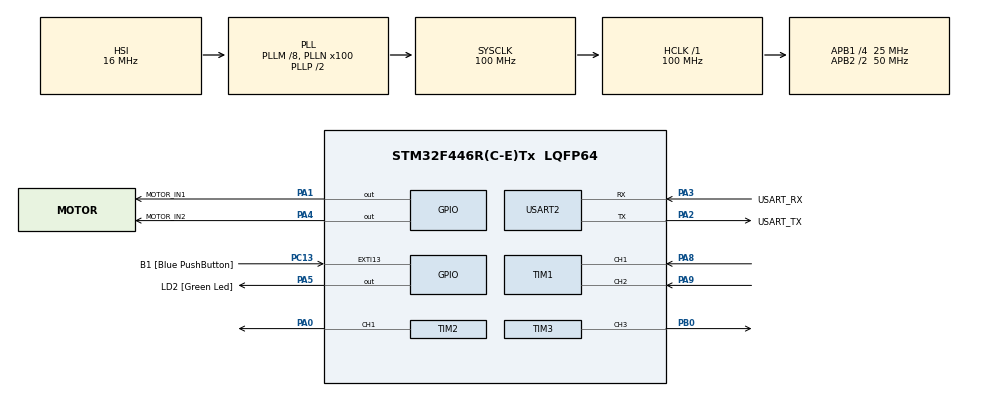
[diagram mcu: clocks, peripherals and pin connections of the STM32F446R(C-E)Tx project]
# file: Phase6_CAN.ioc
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FREERTOS.Tasks01=Task_Comm,24,128,StartDefaultTask,Default,NULL,Dynamic,NULL,NULL;Task_Motor,40,128,StartTask02,Default,NULL,Dynamic,NULL,NULL;Task_Safety,48,128,StartTask03,Default,NULL,Dynamic,NULL,NULL
FREERTOS.configUSE_NEWLIB_REENTRANT=1
Mcu.Family=STM32F4
Mcu.Name=STM32F446R(C-E)Tx
Mcu.Package=LQFP64
NVIC.EXTI15_10_IRQn=true\:5\:0\:false\:false\:true\:true\:true\:true\:true
NVIC.PriorityGroup=NVIC_PRIORITYGROUP_4
NVIC.TIM1_UP_TIM10_IRQn=true\:15\:0\:false\:false\:true\:false\:false\:true\:true
NVIC.TimeBase=TIM1_UP_TIM10_IRQn
NVIC.TimeBaseIP=TIM10
NVIC.USART2_IRQn=true\:5\:0\:false\:false\:true\:true\:true\:true\:true
PA0-WKUP.Signal=S_TIM2_CH1_ETR
PA1.GPIO_Label=MOTOR_IN1
PA1.Signal=GPIO_Output
PA13.GPIO_Label=TMS
PA13.Mode=Serial_Wire
PA13.Signal=SYS_JTMS-SWDIO
PA14.GPIO_Label=TCK
PA14.Mode=Serial_Wire
PA14.Signal=SYS_JTCK-SWCLK
PA2.GPIO_Label=USART_TX
PA2.Mode=Asynchronous
PA2.Signal=USART2_TX
PA3.GPIO_Label=USART_RX
PA3.Mode=Asynchronous
PA3.Signal=USART2_RX
PA4.GPIO_Label=MOTOR_IN2
PA4.Signal=GPIO_Output
PA5.GPIO_Label=LD2 [Green Led]
PA5.Signal=GPIO_Output
PA8.Signal=S_TIM1_CH1
PA9.Signal=S_TIM1_CH2
PB0.Signal=S_TIM3_CH3
PB3.GPIO_Label=SWO
PB3.Signal=SYS_JTDO-SWO
PC13.GPIO_Label=B1 [Blue PushButton]
PC13.GPIO_ModeDefaultEXTI=GPIO_MODE_IT_FALLING
PC13.Signal=GPXTI13
PC14-OSC32_IN.Signal=RCC_OSC32_IN
PC15-OSC32_OUT.Signal=RCC_OSC32_OUT
PH0-OSC_IN.Signal=RCC_OSC_IN
PH1-OSC_OUT.Signal=RCC_OSC_OUT
ProjectManager.HeapSize=0x200
ProjectManager.StackSize=0x400
ProjectManager.TargetToolchain=STM32CubeIDE
RCC.48MHZClocksFreq_Value=84000000
RCC.AHBFreq_Value=100000000
RCC.APB1CLKDivider=RCC_HCLK_DIV4
RCC.APB1Freq_Value=25000000
RCC.APB1TimFreq_Value=50000000
RCC.APB2CLKDivider=RCC_HCLK_DIV2
RCC.APB2Freq_Value=50000000
RCC.APB2TimFreq_Value=100000000
RCC.CortexFreq_Value=100000000
RCC.FLatency-AdvancedSettings=FLASH_LATENCY_3
RCC.HCLKFreq_Value=100000000
RCC.HSE_VALUE=8000000
RCC.HSI_VALUE=16000000
RCC.PLLM=8
RCC.PLLN=100
RCC.SYSCLKFreq_VALUE=100000000
RCC.SYSCLKSource=RCC_SYSCLKSOURCE_PLLCLK
RCC.USBFreq_Value=100000000
RCC.VCOOutputFreq_Value=200000000
SH.S_TIM1_CH1.0=TIM1_CH1,Encoder_Interface
SH.S_TIM1_CH2.0=TIM1_CH2,Encoder_Interface
SH.S_TIM2_CH1_ETR.0=TIM2_CH1,PWM Generation1 CH1
SH.S_TIM3_CH3.0=TIM3_CH3,PWM Generation3 CH3
TIM1.EncoderMode=TIM_ENCODERMODE_TI12
TIM2.Channel-PWM\ Generation1\ CH1=TIM_CHANNEL_1
TIM2.Period=19999
TIM2.Prescaler=49
TIM2.Pulse-PWM\ Generation1\ CH1=1500
TIM3.Channel-PWM\ Generation3\ CH3=TIM_CHANNEL_3
TIM3.Period=999
TIM3.Prescaler=499
USART2.VirtualMode=VM_ASYNC
VP_FREERTOS_VS_CMSIS_V2.Mode=CMSIS_V2
VP_SYS_VS_tim10.Mode=TIM10
VP_TIM2_VS_ClockSourceINT.Mode=Internal
VP_TIM3_VS_ClockSourceINT.Mode=Internal
board=NUCLEO-F446RE

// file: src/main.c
/* USER CODE BEGIN Header */
/**
  ******************************************************************************
  * @file           : main.c
  * @brief          : Main program body
  ******************************************************************************
  * @attention
  *
  * Copyright (c) 2026 STMicroelectronics.
  * All rights reserved.
  *
  * This software is licensed under terms that can be found in the LICENSE file
  * in the root directory of this software component.
  * If no LICENSE file comes with this software, it is provided AS-IS.
  *
  ******************************************************************************
  */
/* USER CODE END Header */
#include "main.h"
#include "cmsis_os.h"
#include "tim.h"
#include "usart.h"
#include "gpio.h"

/* USER CODE BEGIN Includes */
#include <string.h>
#include <stdio.h>
#include "cmsis_os.h"
/* USER CODE END Includes */

/* USER CODE BEGIN PV */

//태스크 간 공유 변수
volatile uint32_t last_command_time = 0;
volatile int16_t current_speed_rpm = 0;
volatile uint8_t ping_received = 0;

// UART 수신 1바이트 버퍼
uint8_t rx_data;

// 큐 핸들 (freertos.c에서 osMessageQueueNew()로 생성)
osMessageQueueId_t myQueueHandle;

// 엔코더 카운터
uint16_t last_encoder_count = 0;

/* USER CODE END PV */

void SystemClock_Config(void);
void MX_FREERTOS_Init(void);

int main(void)
{

  /* MCU Configuration--------------------------------------------------------*/

  /* Reset of all peripherals, Initializes the Flash interface and the Systick. */
  HAL_Init();

  /* Configure the system clock */
  SystemClock_Config();

  /* Initialize all configured peripherals */
  MX_GPIO_Init();
  MX_USART2_UART_Init();
  MX_TIM1_Init();
  MX_TIM2_Init();
  MX_TIM3_Init();
  /* USER CODE BEGIN 2 */
//pwm 타이머 시작
  HAL_TIM_PWM_Start(&htim2, TIM_CHANNEL_1); // Servo
  HAL_TIM_PWM_Start(&htim3, TIM_CHANNEL_3); // Dc Motor
  // 7/26 여긴 괜찮은데 freertos.c를 봐야한다. 거기에서 서보 관련 문제의 원인이 있다

  //엔코더 시작
  HAL_TIM_Encoder_Start(&htim1, TIM_CHANNEL_ALL);
  last_encoder_count = __HAL_TIM_GET_COUNTER(&htim1);

  //시작 시각 저장
  last_command_time = HAL_GetTick();

  // UART 수신 시작(1바이트, 인터럽트 모드)
  HAL_UART_Receive_IT(&huart2, &rx_data, 1);

  /* USER CODE END 2 */

  /* Init scheduler */
  osKernelInitialize();

  /* Call init function for freertos objects (in cmsis_os2.c) */
  MX_FREERTOS_Init();

  /* Start scheduler */
  osKernelStart();

  /* We should never get here as control is now taken by the scheduler */

  /* Infinite loop */
  while (1)
  {

    /* USER CODE BEGIN 3 */
//	  char msg[] = "Hello F446RE!\r\n";
//	  HAL_UART_Transmit(&huart2, (uint8_t *)msg, strlen(msg), 100);
//	  HAL_Delay(1000);
  }
  /* USER CODE END 3 */
}

void SystemClock_Config(void)
{
  RCC_OscInitTypeDef RCC_OscInitStruct = {0};
  RCC_ClkInitTypeDef RCC_ClkInitStruct = {0};

  /** Configure the main internal regulator output voltage
  */
  __HAL_RCC_PWR_CLK_ENABLE();
  __HAL_PWR_VOLTAGESCALING_CONFIG(PWR_REGULATOR_VOLTAGE_SCALE3);

  /** Initializes the RCC Oscillators according to the specified parameters
  * in the RCC_OscInitTypeDef structure.
  */
  RCC_OscInitStruct.OscillatorType = RCC_OSCILLATORTYPE_HSI;
  RCC_OscInitStruct.HSIState = RCC_HSI_ON;
  RCC_OscInitStruct.HSICalibrationValue = RCC_HSICALIBRATION_DEFAULT;
  RCC_OscInitStruct.PLL.PLLState = RCC_PLL_ON;
  RCC_OscInitStruct.PLL.PLLSource = RCC_PLLSOURCE_HSI;
  RCC_OscInitStruct.PLL.PLLM = 8;
  RCC_OscInitStruct.PLL.PLLN = 100;
  RCC_OscInitStruct.PLL.PLLP = RCC_PLLP_DIV2;
  RCC_OscInitStruct.PLL.PLLQ = 2;
  RCC_OscInitStruct.PLL.PLLR = 2;
  if (HAL_RCC_OscConfig(&RCC_OscInitStruct) != HAL_OK)
  {
    Error_Handler();
  }

  /** Initializes the CPU, AHB and APB buses clocks
  */
  RCC_ClkInitStruct.ClockType = RCC_CLOCKTYPE_HCLK|RCC_CLOCKTYPE_SYSCLK
                              |RCC_CLOCKTYPE_PCLK1|RCC_CLOCKTYPE_PCLK2;
  RCC_ClkInitStruct.SYSCLKSource = RCC_SYSCLKSOURCE_PLLCLK;
  RCC_ClkInitStruct.AHBCLKDivider = RCC_SYSCLK_DIV1;
  RCC_ClkInitStruct.APB1CLKDivider = RCC_HCLK_DIV4;
  RCC_ClkInitStruct.APB2CLKDivider = RCC_HCLK_DIV2;

  if (HAL_RCC_ClockConfig(&RCC_ClkInitStruct, FLASH_LATENCY_3) != HAL_OK)
  {
    Error_Handler();
  }
}

/* USER CODE BEGIN 4 */

//printf를 UART로 리다이렉트 (디버깅용)
#ifdef __GNUC__
#define PUTCHAR_PROTOTYPE int __io_putchar(int ch)
#else
#define PUTCHAR_PROTOTYPE int fputc(int ch, FILE *f)
#endif

PUTCHAR_PROTOTYPE
{
	HAL_UART_Transmit(&huart2, (uint8_t *)&ch, 1, 0xFFFF);
	return ch;
}

//PID 계산
float PID_Calculate(PID_t *pid, float error)
{
	float p = pid->kp * error;

	pid->integral += error * 0.01f; //dt=10ms (100Hz 루프 가정)
	float i = pid->ki * pid->integral;

	float d = pid->kd * (error - pid->prev_error) / 0.01f;
	pid->prev_error = error;

	float output = p + i + d;

	if(output > pid->output_max) output = pid->output_max;
	if(output < pid->output_min) output = pid->output_min;

	return output;
}

//UART 수신 콜백(1바이트씩)
void HAL_UART_RxCpltCallback(UART_HandleTypeDef *huart)
{
	if(huart->Instance != USART2) return;

	static uint8_t buffer[64];
	static uint8_t buf_index = 0;

	//문장 끝
	if(rx_data=='\n' || rx_data=='\r')
	{
		if(buf_index>0)
		{
			buffer[buf_index] = 0;

			//PING처리: 플래그만 세팅 (실제 PONG 송신은 Task_Comm에서)
			if(strcmp((char*)buffer, "PING") == 0)
			{
				ping_received = 1;
			}
			else
			{
				// "speed,angle" 파싱
				int temp_speed = 0;
				int temp_angle = SERVO_CENTER_US;

				if(sscanf((char*)buffer, "%d,%d", &temp_speed, &temp_angle) == 2)
				{
					MotorCommand_t send_msg;
					send_msg.speed = temp_speed;
					send_msg.angle = temp_angle;

					// 큐에 푸시 (대기시간 0 -> 꽉 차면 버림)
					osMessageQueuePut(myQueueHandle, &send_msg, 0, 0);

					last_command_time = HAL_GetTick();
				}
			}

			buf_index = 0;
			memset(buffer, 0, sizeof(buffer));
		}
	}
	else
	{
		if(buf_index < 60)
		{
			buffer[buf_index++] = rx_data;
		}
	}

	//다음 인터럽트 장전
	HAL_UART_Receive_IT(&huart2, &rx_data, 1);
}

//UART 에러 자동 복구
void HAL_UART_ErrorCallback(UART_HandleTypeDef *huart)
{
	if(huart->Instance == USART2)
	{
		HAL_UART_Receive_IT(&huart2, &rx_data, 1);
	}
}

/* USER CODE END 4 */

void HAL_TIM_PeriodElapsedCallback(TIM_HandleTypeDef *htim)
{
  if (htim->Instance == TIM10) {
    HAL_IncTick();
  }
}

void Error_Handler(void)
{
  __disable_irq();
  while (1)
  {
  }
}

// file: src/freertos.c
/* USER CODE BEGIN Header */
/**
  ******************************************************************************
  * File Name          : freertos.c
  * Description        : Code for freertos applications
  ******************************************************************************
  * @attention
  *
  * Copyright (c) 2026 STMicroelectronics.
  * All rights reserved.
  *
  * This software is licensed under terms that can be found in the LICENSE file
  * in the root directory of this software component.
  * If no LICENSE file comes with this software, it is provided AS-IS.
  *
  ******************************************************************************
  */
/* USER CODE END Header */

#include "FreeRTOS.h"
#include "task.h"
#include "main.h"
#include "cmsis_os.h"

/* USER CODE BEGIN Includes */
#include "main.h"
#include "tim.h"
#include "usart.h"
#include "gpio.h"
#include <stdio.h>
#include <string.h>
#include <stdlib.h>
/* USER CODE END Includes */

/* Definitions for Task_Comm */
osThreadId_t Task_CommHandle;
const osThreadAttr_t Task_Comm_attributes = {
  .name = "Task_Comm",
  .stack_size = 128 * 4,
  .priority = (osPriority_t) osPriorityNormal,
};
/* Definitions for Task_Motor */
osThreadId_t Task_MotorHandle;
const osThreadAttr_t Task_Motor_attributes = {
  .name = "Task_Motor",
  .stack_size = 128 * 4,
  .priority = (osPriority_t) osPriorityHigh,
};
/* Definitions for Task_Safety */
osThreadId_t Task_SafetyHandle;
const osThreadAttr_t Task_Safety_attributes = {
  .name = "Task_Safety",
  .stack_size = 128 * 4,
  .priority = (osPriority_t) osPriorityRealtime,
};

void StartDefaultTask(void *argument);
void StartTask02(void *argument);
void StartTask03(void *argument);

void MX_FREERTOS_Init(void); /* (MISRA C 2004 rule 8.1) */

void MX_FREERTOS_Init(void) {
  /* USER CODE BEGIN Init */
//큐 생성
	myQueueHandle = osMessageQueueNew(16, sizeof(MotorCommand_t), NULL);
  /* USER CODE END Init */

  /* Create the thread(s) */
  /* creation of Task_Comm */
  Task_CommHandle = osThreadNew(StartDefaultTask, NULL, &Task_Comm_attributes);

  /* creation of Task_Motor */
  Task_MotorHandle = osThreadNew(StartTask02, NULL, &Task_Motor_attributes);

  /* creation of Task_Safety */
  Task_SafetyHandle = osThreadNew(StartTask03, NULL, &Task_Safety_attributes);

}

void StartDefaultTask(void *argument)
{
  /* USER CODE BEGIN StartDefaultTask */
  char enc_buf[32];
  /* Infinite loop */

  for(;;)
  {
    //PING응답 (ISR대신 Task 에서 송신 -> Race Condition 방지)
	 if(ping_received)
	 {
		 ping_received = 0;
		 HAL_UART_Transmit(&huart2, (uint8_t*)"PONG\r\n", 6, 10);
	 }

	 //엔코더 값 송신
	 int len = snprintf(enc_buf, sizeof(enc_buf), "ENC:%d\r\n", current_speed_rpm);
	 HAL_UART_Transmit(&huart2, (uint8_t*)enc_buf, len, 10);

	 osDelay(10);
  }
  /* USER CODE END StartDefaultTask */
}

void StartTask02(void *argument)
{
  /* USER CODE BEGIN StartTask02 */
	MotorCommand_t rcv_msg;
	int current_angle = SERVO_CENTER_US;
	int target_pwm = 0;
	float target_enc = 0.0f;
	float error = 0.0f;
	int final_pwm = 0;

	PID_t pid_speed = {
			.kp = 3.0f,
			.ki = 0.0f,
			.kd = 0.0f,
			.integral = 0.0f,
			.prev_error = 0.0f,
			.output_min = -500.0f,
			.output_max = 500.0f
	};

	//엔코더 카운터는 main.c에서 이미 시작됨
	extern uint16_t last_encoder_count;

	uint32_t last_wake_time = osKernelGetTickCount();

  /* Infinite loop */
  for(;;)
  {
    //엔코더 속도 계산 (10ms당 펄스 수)
	  uint16_t current_count = __HAL_TIM_GET_COUNTER(&htim1);
	  int16_t diff = (int16_t)(current_count - last_encoder_count);
	  current_speed_rpm = diff;
	  last_encoder_count = current_count;

	  //큐에서 새 명령 확인 (없으면 이전 target 유지)
	  osStatus_t status = osMessageQueueGet(myQueueHandle, &rcv_msg, NULL, 0);
	  if(status == osOK)
	  {
		  target_pwm = rcv_msg.speed;
		  current_angle = rcv_msg.angle;
	  }

	  // FF + FB 결합
	  target_enc = (float)target_pwm * PWM_TO_ENC_SCALE;
	  error = target_enc - (float)current_speed_rpm;
	  float pid_correction = PID_Calculate(&pid_speed, error);
	  final_pwm = target_pwm + (int)pid_correction;

	  //클리핑
	  if(final_pwm > MOTOR_PWM_MAX) final_pwm = MOTOR_PWM_MAX;
	  if(final_pwm < -MOTOR_PWM_MAX) final_pwm = -MOTOR_PWM_MAX;

	  //모터 방향 + PWM (DC 모터 = htim3, PB0)
	  if(final_pwm > 0)
	  {
		  HAL_GPIO_WritePin(MOTOR_IN1_GPIO_Port, MOTOR_IN1_Pin, GPIO_PIN_SET);
		  HAL_GPIO_WritePin(MOTOR_IN2_GPIO_Port, MOTOR_IN2_Pin, GPIO_PIN_RESET);
		  __HAL_TIM_SET_COMPARE(&htim3, TIM_CHANNEL_3, (uint32_t)final_pwm);
      // 7/26 이게 문제이다
      // htim3 가 아니라 htim2 가 맞아. PB0에 서보
	  }
	  else if(final_pwm < 0)
      {
          HAL_GPIO_WritePin(MOTOR_IN1_GPIO_Port, MOTOR_IN1_Pin, GPIO_PIN_RESET);
          HAL_GPIO_WritePin(MOTOR_IN2_GPIO_Port, MOTOR_IN2_Pin, GPIO_PIN_SET);
          __HAL_TIM_SET_COMPARE(&htim3, TIM_CHANNEL_3, (uint32_t)abs(final_pwm));
      }
      else
      {
          HAL_GPIO_WritePin(MOTOR_IN1_GPIO_Port, MOTOR_IN1_Pin, GPIO_PIN_RESET);
          HAL_GPIO_WritePin(MOTOR_IN2_GPIO_Port, MOTOR_IN2_Pin, GPIO_PIN_RESET);
          __HAL_TIM_SET_COMPARE(&htim3, TIM_CHANNEL_3, 0);
      }

	  // 서보 각도 제한 + 출력 (서보 = htim2, PA0)
	  if(current_angle < SERVO_MIN_US) current_angle = SERVO_MIN_US;
	  if(current_angle > SERVO_MAX_US) current_angle = SERVO_MAX_US;
      __HAL_TIM_SET_COMPARE(&htim2, TIM_CHANNEL_1, (uint32_t)current_angle);

      // 1초마다 LED 토글 (생존 신호)
      static uint16_t led_counter = 0;
      if (++led_counter >= 100)
      {
          HAL_GPIO_TogglePin(LD2_GPIO_Port, LD2_Pin);
          led_counter = 0;
      }

      // 100Hz 주기 보장
      last_wake_time += 10;
      osDelayUntil(last_wake_time);
  }
  /* USER CODE END StartTask02 */
}

void StartTask03(void *argument)
{
  /* USER CODE BEGIN StartTask03 */
  /* Infinite loop */
  for(;;)
  {
    //500ms 동안 명령 없으면 비상 정지
	  if(HAL_GetTick() - last_command_time > 500)
	  {
		  //큐에 정지 명령 푸시
		  MotorCommand_t stop_msg;
		  stop_msg.speed = 0;
		  stop_msg.angle = SERVO_CENTER_US;
		  osMessageQueuePut(myQueueHandle, &stop_msg, 0, 0);

		  //즉시 하드웨어 차단 (이중 안전) - DC 모터 = htim3
		  __HAL_TIM_SET_COMPARE(&htim3, TIM_CHANNEL_3, 0);
		  HAL_GPIO_WritePin(MOTOR_IN1_GPIO_Port, MOTOR_IN1_Pin, GPIO_PIN_RESET);
          HAL_GPIO_WritePin(MOTOR_IN2_GPIO_Port, MOTOR_IN2_Pin, GPIO_PIN_RESET);
          HAL_GPIO_WritePin(LD2_GPIO_Port, LD2_Pin, GPIO_PIN_RESET);
      }

      osDelay(50);
  }
  /* USER CODE END StartTask03 */
}
